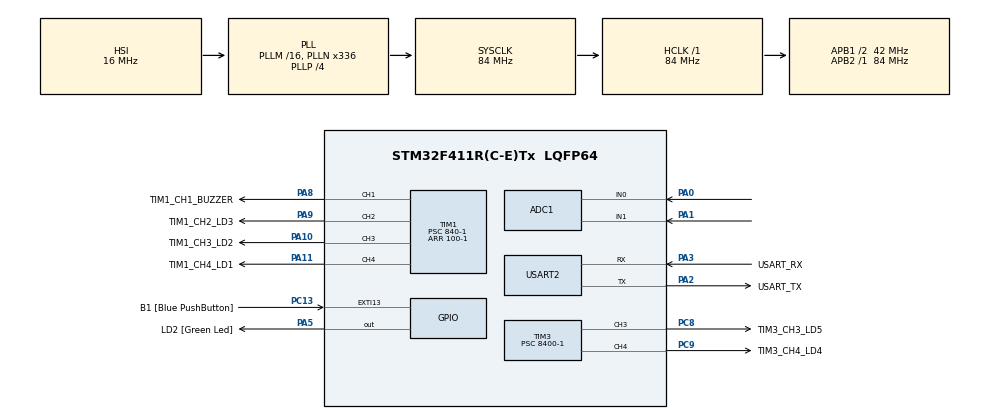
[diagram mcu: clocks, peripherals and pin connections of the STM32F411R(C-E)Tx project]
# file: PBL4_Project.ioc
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ADC1.Channel-0\#ChannelRegularConversion=ADC_CHANNEL_1
ADC1.Channel-1\#ChannelRegularConversion=ADC_CHANNEL_0
ADC1.ContinuousConvMode=ENABLE
ADC1.DMAContinuousRequests=ENABLE
ADC1.EOCSelection=ADC_EOC_SINGLE_CONV
ADC1.EnableAnalogWatchDog=false
ADC1.NbrOfConversion=2
ADC1.NbrOfConversionFlag=1
ADC1.Rank-0\#ChannelRegularConversion=1
ADC1.Rank-1\#ChannelRegularConversion=2
ADC1.SamplingTime-0\#ChannelRegularConversion=ADC_SAMPLETIME_84CYCLES
ADC1.SamplingTime-1\#ChannelRegularConversion=ADC_SAMPLETIME_84CYCLES
ADC1.ScanConvMode=ENABLE
ADC1.master=1
Dma.ADC1.0.Direction=DMA_PERIPH_TO_MEMORY
Dma.ADC1.0.FIFOMode=DMA_FIFOMODE_DISABLE
Dma.ADC1.0.Instance=DMA2_Stream0
Dma.ADC1.0.MemDataAlignment=DMA_MDATAALIGN_HALFWORD
Dma.ADC1.0.MemInc=DMA_MINC_ENABLE
Dma.ADC1.0.Mode=DMA_CIRCULAR
Dma.ADC1.0.PeriphDataAlignment=DMA_PDATAALIGN_HALFWORD
Dma.ADC1.0.PeriphInc=DMA_PINC_DISABLE
Dma.ADC1.0.Priority=DMA_PRIORITY_LOW
Dma.Request0=ADC1
Mcu.Family=STM32F4
Mcu.Name=STM32F411R(C-E)Tx
Mcu.Package=LQFP64
NVIC.DMA2_Stream0_IRQn=true\:0\:0\:false\:false\:true\:false\:true\:true
NVIC.PriorityGroup=NVIC_PRIORITYGROUP_0
NVIC.TIM1_UP_TIM10_IRQn=true\:0\:0\:false\:false\:true\:true\:true\:true
NVIC.TIM3_IRQn=true\:0\:0\:false\:false\:true\:true\:true\:true
PA0-WKUP.Signal=ADCx_IN0
PA1.Signal=ADCx_IN1
PA10.GPIO_Label=TIM1_CH3_LD2
PA10.Signal=S_TIM1_CH3
PA11.GPIO_Label=TIM1_CH4_LD1
PA11.Signal=S_TIM1_CH4
PA13.GPIO_Label=TMS
PA13.Mode=Serial_Wire
PA13.Signal=SYS_JTMS-SWDIO
PA14.GPIO_Label=TCK
PA14.Mode=Serial_Wire
PA14.Signal=SYS_JTCK-SWCLK
PA2.GPIO_Label=USART_TX
PA2.Mode=Asynchronous
PA2.Signal=USART2_TX
PA3.GPIO_Label=USART_RX
PA3.Mode=Asynchronous
PA3.Signal=USART2_RX
PA5.GPIO_Label=LD2 [Green Led]
PA5.Signal=GPIO_Output
PA8.GPIO_Label=TIM1_CH1_BUZZER
PA8.Signal=S_TIM1_CH1
PA9.GPIO_Label=TIM1_CH2_LD3
PA9.Signal=S_TIM1_CH2
PB3.GPIO_Label=SWO
PB3.Signal=SYS_JTDO-SWO
PC13-ANTI_TAMP.GPIO_Label=B1 [Blue PushButton]
PC13-ANTI_TAMP.GPIO_ModeDefaultEXTI=GPIO_MODE_IT_FALLING
PC13-ANTI_TAMP.Signal=GPXTI13
PC14-OSC32_IN.Mode=LSE-External-Oscillator
PC14-OSC32_IN.Signal=RCC_OSC32_IN
PC15-OSC32_OUT.Mode=LSE-External-Oscillator
PC15-OSC32_OUT.Signal=RCC_OSC32_OUT
PC8.GPIO_Label=TIM3_CH3_LD5
PC8.Signal=S_TIM3_CH3
PC9.GPIO_Label=TIM3_CH4_LD4
PC9.Signal=S_TIM3_CH4
PH0\ -\ OSC_IN.Mode=HSE-External-Clock-Source
PH0\ -\ OSC_IN.Signal=RCC_OSC_IN
PH1\ -\ OSC_OUT.Mode=HSE-External-Clock-Source
PH1\ -\ OSC_OUT.Signal=RCC_OSC_OUT
ProjectManager.HeapSize=0x200
ProjectManager.StackSize=0x400
ProjectManager.TargetToolchain=STM32CubeIDE
RCC.48MHZClocksFreq_Value=84000000
RCC.AHBFreq_Value=84000000
RCC.APB1CLKDivider=RCC_HCLK_DIV2
RCC.APB1Freq_Value=42000000
RCC.APB1TimFreq_Value=84000000
RCC.APB2Freq_Value=84000000
RCC.APB2TimFreq_Value=84000000
RCC.CortexFreq_Value=84000000
RCC.FLatency-AdvancedSettings=FLASH_LATENCY_2
RCC.HCLKFreq_Value=84000000
RCC.HSE_VALUE=8000000
RCC.HSI_VALUE=16000000
RCC.PLLN=336
RCC.PLLP=RCC_PLLP_DIV4
RCC.SYSCLKFreq_VALUE=84000000
RCC.SYSCLKSource=RCC_SYSCLKSOURCE_PLLCLK
RCC.VCOOutputFreq_Value=336000000
SH.ADCx_IN0.0=ADC1_IN0,IN0
SH.ADCx_IN1.0=ADC1_IN1,IN1
SH.S_TIM1_CH1.0=TIM1_CH1,PWM Generation1 CH1
SH.S_TIM1_CH2.0=TIM1_CH2,PWM Generation2 CH2
SH.S_TIM1_CH3.0=TIM1_CH3,PWM Generation3 CH3
SH.S_TIM1_CH4.0=TIM1_CH4,PWM Generation4 CH4
SH.S_TIM3_CH3.0=TIM3_CH3,PWM Generation3 CH3
SH.S_TIM3_CH4.0=TIM3_CH4,PWM Generation4 CH4
TIM1.Channel-PWM\ Generation1\ CH1=TIM_CHANNEL_1
TIM1.Channel-PWM\ Generation2\ CH2=TIM_CHANNEL_2
TIM1.Channel-PWM\ Generation3\ CH3=TIM_CHANNEL_3
TIM1.Channel-PWM\ Generation4\ CH4=TIM_CHANNEL_4
TIM1.Period=100-1
TIM1.Prescaler=840-1
TIM1.Pulse-PWM\ Generation1\ CH1=20
TIM3.Channel-PWM\ Generation3\ CH3=TIM_CHANNEL_3
TIM3.Channel-PWM\ Generation4\ CH4=TIM_CHANNEL_4
TIM3.Period=10000-1
TIM3.Prescaler=8400-1
USART2.VirtualMode=VM_ASYNC
VP_TIM1_VS_ClockSourceINT.Mode=Internal
VP_TIM3_VS_ClockSourceINT.Mode=Internal
board=NUCLEO-F411RE

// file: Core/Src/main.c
/* USER CODE BEGIN Header */
/**
  ******************************************************************************
  * @file           : main.c
  * @brief          : Main program body
  ******************************************************************************
  * @attention
  *
  * <h2><center>&copy; Copyright (c) 2022 STMicroelectronics.
  * All rights reserved.</center></h2>
  *
  * This software component is licensed by ST under BSD 3-Clause license,
  * the "License"; You may not use this file except in compliance with the
  * License. You may obtain a copy of the License at:
  *                        opensource.org/licenses/BSD-3-Clause
  *
  ******************************************************************************
  */
/* USER CODE END Header */
#include "main.h"

/* USER CODE BEGIN Includes */
#include "math.h"
#include <stdio.h>
/* USER CODE END Includes */

 ADC_HandleTypeDef hadc1;
DMA_HandleTypeDef hdma_adc1;

TIM_HandleTypeDef htim1;
TIM_HandleTypeDef htim3;

UART_HandleTypeDef huart2;

/* USER CODE BEGIN PV */
int8_t signalPower; // mappped to 0-100 range where 0 means no signal and 100 means signal 0dBm?
int8_t todo;
// dopisac funkcje typu rand która robi nam losowe dane
/* USER CODE END PV */

void SystemClock_Config(void);
static void MX_GPIO_Init(void);
static void MX_USART2_UART_Init(void);
static void MX_TIM1_Init(void);
static void MX_DMA_Init(void);
static void MX_ADC1_Init(void);
static void MX_TIM3_Init(void);
/* USER CODE BEGIN PFP */
int __io_putchar(int ch)
{
  if (ch == '\n') {
    __io_putchar('\r');
  }

  HAL_UART_Transmit(&huart2, (uint8_t*)&ch, 1, HAL_MAX_DELAY);

  return 1;
}
/* USER CODE END PFP */

/* USER CODE BEGIN 0 */

/*
 * Aby zlinearyzować działanie układu, możemy przeliczyć jasność na wypełnienie PWM poniższą funkcją
 */
float calc_pwm(float val)
{
	if (val>100) val=100;
	if (val<0) val=0;
    const float k = 0.13f;
    const float x0 = 70.0f;
    return 10000.0f / (1.0f + exp(-k * (val - x0)));
}
void HAL_TIM_PeriodElapsedCallback(TIM_HandleTypeDef *htim)
{

	if (htim == &htim3) // TIM3 TO BEDZIE TAKI ZMIENIACZ DIÓD I BUZZERA
	{
		signalPower%=100; // EVERY 1 SEC
		signalPower+=2;
		__HAL_TIM_SET_COMPARE(&htim1, TIM_CHANNEL_2, calc_pwm((signalPower*5)));
		__HAL_TIM_SET_COMPARE(&htim1, TIM_CHANNEL_3, calc_pwm((signalPower-20)*5));
		__HAL_TIM_SET_COMPARE(&htim1, TIM_CHANNEL_4, calc_pwm((signalPower-40)*5));
		__HAL_TIM_SET_COMPARE(&htim3, TIM_CHANNEL_3, calc_pwm((signalPower-60)*5));
		__HAL_TIM_SET_COMPARE(&htim3, TIM_CHANNEL_4, calc_pwm((signalPower-80)*5));
	    switch (HAL_TIM_GetActiveChannel(&htim3)) {
	      case HAL_TIM_ACTIVE_CHANNEL_3:
	    	__HAL_TIM_SET_COMPARE(&htim3, TIM_CHANNEL_3, calc_pwm(todo));
	        break;
	      default:
	        break;
	    }
	}
/*	if (htim == &htim1)
	{
		switch (HAL_TIM_GetActiveChannel(&htim3)) {
		  case HAL_TIM_ACTIVE_CHANNEL_2:
			__HAL_TIM_SET_COMPARE(&htim1, TIM_CHANNEL_2, calc_pwm(signalPower));
			break;
		  default:
			break;
		}

	}*/
}
/* USER CODE END 0 */

int main(void)
{

  /* MCU Configuration--------------------------------------------------------*/

  /* Reset of all peripherals, Initializes the Flash interface and the Systick. */
  HAL_Init();

  /* Configure the system clock */
  SystemClock_Config();

  /* Initialize all configured peripherals */
  MX_GPIO_Init();
  MX_USART2_UART_Init();
  MX_TIM1_Init();
  MX_DMA_Init();
  MX_ADC1_Init();
  MX_TIM3_Init();

  /* Infinite loop */
  /* USER CODE BEGIN WHILE */
  HAL_TIM_Base_Start(&htim1);
//  HAL_TIM_Base_Start_IT(&htim3);
  HAL_TIM_PWM_Start(&htim1, TIM_CHANNEL_1);
  // LEDS
 // HAL_TIM_PWM_Start(&htim1, TIM_CHANNEL_2);//PA9 LD3
  // MOŻE TO BYĆ ONE PULSE MODE KTÓRY W PRZERWANIU CO ILEŚ SEKUND KONFIGURUJE WYPE�?NIENIE
  // I ODPALA KOLEJNEGO ONE PULSE MODA LUB ZWYKLY TRYB
  //HAL_TIM_PWM_Start_IT(&htim1,TIM_CHANNEL_3);
  //HAL_TIM_PWM_Start_IT(&htim1,TIM_CHANNEL_4);
  //HAL_TIM_PWM_Start_IT(&htim3,TIM_CHANNEL_3);
  //HAL_TIM_PWM_Start_IT(&htim3,TIM_CHANNEL_4);
  // INITIALIZE ALL WITH 0 WYPELNIENIE

  while (1)
  {

/*	  HAL_GPIO_TogglePin(LD2_GPIO_Port, LD2_Pin);
	  HAL_Delay(1000);*/
	  //__WFI();
	  uint32_t value[2];

	   HAL_ADC_Start(&hadc1);
	   HAL_ADC_PollForConversion(&hadc1, HAL_MAX_DELAY);
	   value[0] = HAL_ADC_GetValue(&hadc1);

	   HAL_ADC_Start(&hadc1);
	   HAL_ADC_PollForConversion(&hadc1, HAL_MAX_DELAY);
	   value[1] = HAL_ADC_GetValue(&hadc1);

	    __HAL_TIM_SET_COMPARE(&htim1, TIM_CHANNEL_1, (int)(value[0]*100.0f/4096.0f));
	   __HAL_TIM_SET_PRESCALER(&htim1,(int)((value[1]*1560/4096.0f)+120));
	   printf("value1=%lu, value2=%lu\n", (int)((value[1]*1560/4096.0f)+120), (int)(value[0]*100.0f/4096.0f));
	   HAL_Delay(10);

	   /// 1680 psc is 500hz
	   // 120 psc is 7khz

    /* USER CODE END WHILE */

  }
}

void SystemClock_Config(void)
{
  RCC_OscInitTypeDef RCC_OscInitStruct = {0};
  RCC_ClkInitTypeDef RCC_ClkInitStruct = {0};

  /** Configure the main internal regulator output voltage
  */
  __HAL_RCC_PWR_CLK_ENABLE();
  __HAL_PWR_VOLTAGESCALING_CONFIG(PWR_REGULATOR_VOLTAGE_SCALE1);

  /** Initializes the RCC Oscillators according to the specified parameters
  * in the RCC_OscInitTypeDef structure.
  */
  RCC_OscInitStruct.OscillatorType = RCC_OSCILLATORTYPE_HSI;
  RCC_OscInitStruct.HSIState = RCC_HSI_ON;
  RCC_OscInitStruct.HSICalibrationValue = RCC_HSICALIBRATION_DEFAULT;
  RCC_OscInitStruct.PLL.PLLState = RCC_PLL_ON;
  RCC_OscInitStruct.PLL.PLLSource = RCC_PLLSOURCE_HSI;
  RCC_OscInitStruct.PLL.PLLM = 16;
  RCC_OscInitStruct.PLL.PLLN = 336;
  RCC_OscInitStruct.PLL.PLLP = RCC_PLLP_DIV4;
  RCC_OscInitStruct.PLL.PLLQ = 4;
  if (HAL_RCC_OscConfig(&RCC_OscInitStruct) != HAL_OK)
  {
    Error_Handler();
  }

  /** Initializes the CPU, AHB and APB buses clocks
  */
  RCC_ClkInitStruct.ClockType = RCC_CLOCKTYPE_HCLK|RCC_CLOCKTYPE_SYSCLK
                              |RCC_CLOCKTYPE_PCLK1|RCC_CLOCKTYPE_PCLK2;
  RCC_ClkInitStruct.SYSCLKSource = RCC_SYSCLKSOURCE_PLLCLK;
  RCC_ClkInitStruct.AHBCLKDivider = RCC_SYSCLK_DIV1;
  RCC_ClkInitStruct.APB1CLKDivider = RCC_HCLK_DIV2;
  RCC_ClkInitStruct.APB2CLKDivider = RCC_HCLK_DIV1;

  if (HAL_RCC_ClockConfig(&RCC_ClkInitStruct, FLASH_LATENCY_2) != HAL_OK)
  {
    Error_Handler();
  }
}

static void MX_ADC1_Init(void)
{

  ADC_ChannelConfTypeDef sConfig = {0};

  /** Configure the global features of the ADC (Clock, Resolution, Data Alignment and number of conversion)
  */
  hadc1.Instance = ADC1;
  hadc1.Init.ClockPrescaler = ADC_CLOCK_SYNC_PCLK_DIV4;
  hadc1.Init.Resolution = ADC_RESOLUTION_12B;
  hadc1.Init.ScanConvMode = ENABLE;
  hadc1.Init.ContinuousConvMode = ENABLE;
  hadc1.Init.DiscontinuousConvMode = DISABLE;
  hadc1.Init.ExternalTrigConvEdge = ADC_EXTERNALTRIGCONVEDGE_NONE;
  hadc1.Init.ExternalTrigConv = ADC_SOFTWARE_START;
  hadc1.Init.DataAlign = ADC_DATAALIGN_RIGHT;
  hadc1.Init.NbrOfConversion = 2;
  hadc1.Init.DMAContinuousRequests = ENABLE;
  hadc1.Init.EOCSelection = ADC_EOC_SINGLE_CONV;
  if (HAL_ADC_Init(&hadc1) != HAL_OK)
  {
    Error_Handler();
  }

  /** Configure for the selected ADC regular channel its corresponding rank in the sequencer and its sample time.
  */
  sConfig.Channel = ADC_CHANNEL_1;
  sConfig.Rank = 1;
  sConfig.SamplingTime = ADC_SAMPLETIME_84CYCLES;
  if (HAL_ADC_ConfigChannel(&hadc1, &sConfig) != HAL_OK)
  {
    Error_Handler();
  }

  /** Configure for the selected ADC regular channel its corresponding rank in the sequencer and its sample time.
  */
  sConfig.Channel = ADC_CHANNEL_0;
  sConfig.Rank = 2;
  if (HAL_ADC_ConfigChannel(&hadc1, &sConfig) != HAL_OK)
  {
    Error_Handler();
  }

}

static void MX_TIM1_Init(void)
{

  TIM_ClockConfigTypeDef sClockSourceConfig = {0};
  TIM_MasterConfigTypeDef sMasterConfig = {0};
  TIM_OC_InitTypeDef sConfigOC = {0};
  TIM_BreakDeadTimeConfigTypeDef sBreakDeadTimeConfig = {0};

  htim1.Instance = TIM1;
  htim1.Init.Prescaler = 840-1;
  htim1.Init.CounterMode = TIM_COUNTERMODE_UP;
  htim1.Init.Period = 100-1;
  htim1.Init.ClockDivision = TIM_CLOCKDIVISION_DIV1;
  htim1.Init.RepetitionCounter = 0;
  htim1.Init.AutoReloadPreload = TIM_AUTORELOAD_PRELOAD_DISABLE;
  if (HAL_TIM_Base_Init(&htim1) != HAL_OK)
  {
    Error_Handler();
  }
  sClockSourceConfig.ClockSource = TIM_CLOCKSOURCE_INTERNAL;
  if (HAL_TIM_ConfigClockSource(&htim1, &sClockSourceConfig) != HAL_OK)
  {
    Error_Handler();
  }
  if (HAL_TIM_PWM_Init(&htim1) != HAL_OK)
  {
    Error_Handler();
  }
  sMasterConfig.MasterOutputTrigger = TIM_TRGO_RESET;
  sMasterConfig.MasterSlaveMode = TIM_MASTERSLAVEMODE_DISABLE;
  if (HAL_TIMEx_MasterConfigSynchronization(&htim1, &sMasterConfig) != HAL_OK)
  {
    Error_Handler();
  }
  sConfigOC.OCMode = TIM_OCMODE_PWM1;
  sConfigOC.Pulse = 20;
  sConfigOC.OCPolarity = TIM_OCPOLARITY_HIGH;
  sConfigOC.OCNPolarity = TIM_OCNPOLARITY_HIGH;
  sConfigOC.OCFastMode = TIM_OCFAST_DISABLE;
  sConfigOC.OCIdleState = TIM_OCIDLESTATE_RESET;
  sConfigOC.OCNIdleState = TIM_OCNIDLESTATE_RESET;
  if (HAL_TIM_PWM_ConfigChannel(&htim1, &sConfigOC, TIM_CHANNEL_1) != HAL_OK)
  {
    Error_Handler();
  }
  sConfigOC.Pulse = 0;
  if (HAL_TIM_PWM_ConfigChannel(&htim1, &sConfigOC, TIM_CHANNEL_2) != HAL_OK)
  {
    Error_Handler();
  }
  if (HAL_TIM_PWM_ConfigChannel(&htim1, &sConfigOC, TIM_CHANNEL_3) != HAL_OK)
  {
    Error_Handler();
  }
  if (HAL_TIM_PWM_ConfigChannel(&htim1, &sConfigOC, TIM_CHANNEL_4) != HAL_OK)
  {
    Error_Handler();
  }
  sBreakDeadTimeConfig.OffStateRunMode = TIM_OSSR_DISABLE;
  sBreakDeadTimeConfig.OffStateIDLEMode = TIM_OSSI_DISABLE;
  sBreakDeadTimeConfig.LockLevel = TIM_LOCKLEVEL_OFF;
  sBreakDeadTimeConfig.DeadTime = 0;
  sBreakDeadTimeConfig.BreakState = TIM_BREAK_DISABLE;
  sBreakDeadTimeConfig.BreakPolarity = TIM_BREAKPOLARITY_HIGH;
  sBreakDeadTimeConfig.AutomaticOutput = TIM_AUTOMATICOUTPUT_DISABLE;
  if (HAL_TIMEx_ConfigBreakDeadTime(&htim1, &sBreakDeadTimeConfig) != HAL_OK)
  {
    Error_Handler();
  }
  HAL_TIM_MspPostInit(&htim1);

}

static void MX_TIM3_Init(void)
{

  TIM_ClockConfigTypeDef sClockSourceConfig = {0};
  TIM_MasterConfigTypeDef sMasterConfig = {0};
  TIM_OC_InitTypeDef sConfigOC = {0};

  htim3.Instance = TIM3;
  htim3.Init.Prescaler = 8400-1;
  htim3.Init.CounterMode = TIM_COUNTERMODE_UP;
  htim3.Init.Period = 10000-1;
  htim3.Init.ClockDivision = TIM_CLOCKDIVISION_DIV1;
  htim3.Init.AutoReloadPreload = TIM_AUTORELOAD_PRELOAD_DISABLE;
  if (HAL_TIM_Base_Init(&htim3) != HAL_OK)
  {
    Error_Handler();
  }
  sClockSourceConfig.ClockSource = TIM_CLOCKSOURCE_INTERNAL;
  if (HAL_TIM_ConfigClockSource(&htim3, &sClockSourceConfig) != HAL_OK)
  {
    Error_Handler();
  }
  if (HAL_TIM_PWM_Init(&htim3) != HAL_OK)
  {
    Error_Handler();
  }
  sMasterConfig.MasterOutputTrigger = TIM_TRGO_RESET;
  sMasterConfig.MasterSlaveMode = TIM_MASTERSLAVEMODE_DISABLE;
  if (HAL_TIMEx_MasterConfigSynchronization(&htim3, &sMasterConfig) != HAL_OK)
  {
    Error_Handler();
  }
  sConfigOC.OCMode = TIM_OCMODE_PWM1;
  sConfigOC.Pulse = 0;
  sConfigOC.OCPolarity = TIM_OCPOLARITY_HIGH;
  sConfigOC.OCFastMode = TIM_OCFAST_DISABLE;
  if (HAL_TIM_PWM_ConfigChannel(&htim3, &sConfigOC, TIM_CHANNEL_3) != HAL_OK)
  {
    Error_Handler();
  }
  if (HAL_TIM_PWM_ConfigChannel(&htim3, &sConfigOC, TIM_CHANNEL_4) != HAL_OK)
  {
    Error_Handler();
  }
  HAL_TIM_MspPostInit(&htim3);

}

static void MX_USART2_UART_Init(void)
{

  huart2.Instance = USART2;
  huart2.Init.BaudRate = 115200;
  huart2.Init.WordLength = UART_WORDLENGTH_8B;
  huart2.Init.StopBits = UART_STOPBITS_1;
  huart2.Init.Parity = UART_PARITY_NONE;
  huart2.Init.Mode = UART_MODE_TX_RX;
  huart2.Init.HwFlowCtl = UART_HWCONTROL_NONE;
  huart2.Init.OverSampling = UART_OVERSAMPLING_16;
  if (HAL_UART_Init(&huart2) != HAL_OK)
  {
    Error_Handler();
  }

}

static void MX_DMA_Init(void)
{

  /* DMA controller clock enable */
  __HAL_RCC_DMA2_CLK_ENABLE();

  /* DMA interrupt init */
  /* DMA2_Stream0_IRQn interrupt configuration */
  HAL_NVIC_SetPriority(DMA2_Stream0_IRQn, 0, 0);
  HAL_NVIC_EnableIRQ(DMA2_Stream0_IRQn);

}

static void MX_GPIO_Init(void)
{
  GPIO_InitTypeDef GPIO_InitStruct = {0};

  /* GPIO Ports Clock Enable */
  __HAL_RCC_GPIOC_CLK_ENABLE();
  __HAL_RCC_GPIOH_CLK_ENABLE();
  __HAL_RCC_GPIOA_CLK_ENABLE();
  __HAL_RCC_GPIOB_CLK_ENABLE();

  /*Configure GPIO pin Output Level */
  HAL_GPIO_WritePin(LD2_GPIO_Port, LD2_Pin, GPIO_PIN_RESET);

  /*Configure GPIO pin : B1_Pin */
  GPIO_InitStruct.Pin = B1_Pin;
  GPIO_InitStruct.Mode = GPIO_MODE_IT_FALLING;
  GPIO_InitStruct.Pull = GPIO_NOPULL;
  HAL_GPIO_Init(B1_GPIO_Port, &GPIO_InitStruct);

  /*Configure GPIO pin : LD2_Pin */
  GPIO_InitStruct.Pin = LD2_Pin;
  GPIO_InitStruct.Mode = GPIO_MODE_OUTPUT_PP;
  GPIO_InitStruct.Pull = GPIO_NOPULL;
  GPIO_InitStruct.Speed = GPIO_SPEED_FREQ_LOW;
  HAL_GPIO_Init(LD2_GPIO_Port, &GPIO_InitStruct);

}

void Error_Handler(void)
{
  __disable_irq();
  while (1)
  {
  }
}
